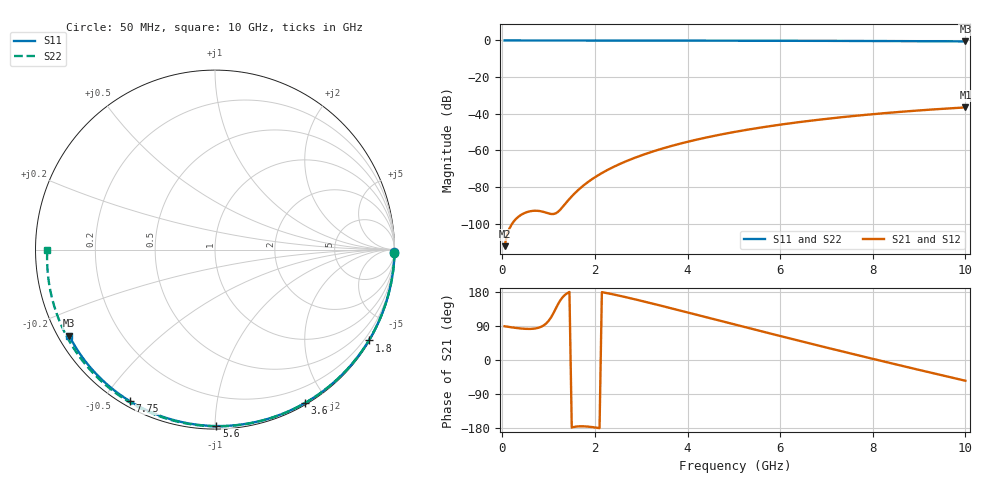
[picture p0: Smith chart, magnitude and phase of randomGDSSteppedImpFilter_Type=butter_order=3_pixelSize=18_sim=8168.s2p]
! freq	dB(S11)	phase(S11)	dB(S12)	phase(S12)
!  dB(S21)	phase(S21)	dB(S22)	phase(S22)
!S-par simulation data
#  GHz  S  DB  R 50
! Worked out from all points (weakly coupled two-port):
!   200 points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, 50 MHz to 10 GHz, reference 50 ohm
!   highest |S21| = -36.54 dB at 10 GHz (marker M1); lowest = -112.2 dB at 50 MHz (marker M2)
!   lowest |S11| = -0.5 dB at 10 GHz (marker M3), VSWR 34.50, Z = 1.56 - j13.6 ohm
!   |S11| at or under -10 dB: nowhere
!   |S22| runs from -0.6 to 0.0 dB; largest |S21 - S12| = 0
!   S11 on the Smith chart (normalised r, x): 50 MHz: open; 1.8 GHz: 0.03, -3.66; 3.6 GHz: 0.02, -1.75; 5.6 GHz: 0.02, -1.01; 7.75 GHz: 0.02, -0.59; 10 GHz: 0.03, -0.27
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0.05  -0.00 -0.9  -112.25 89.0  -112.25 89.0  -0.00 -1.0
0.45  -0.01 -7.8  -94.53 82.6  -94.53 82.6  -0.01 -9.2
0.85  -0.02 -14.6  -93.28 88.3  -93.28 88.3  -0.02 -17.3
1.25  -0.03 -21.4  -92.38 156.9  -92.38 156.9  -0.03 -25.3
1.7  -0.04 -28.9  -80.24 -174.9  -80.24 -174.9  -0.04 -34.2
1.75  -0.04 -29.7  -79.20 -175.0  -79.20 -175.0  -0.04 -35.2
1.8  -0.04 -30.6  -78.20 -175.3  -78.20 -175.3  -0.05 -36.1
2.1  -0.05 -35.5  -73.10 -179.9  -73.10 -179.9  -0.05 -42.0
2.3  -0.05 -38.8  -70.29 175.6  -70.29 175.6  -0.06 -45.9
2.5  -0.05 -42.1  -67.83 170.4  -67.83 170.4  -0.06 -49.7
2.9  -0.06 -48.5  -63.65 159.1  -63.65 159.1  -0.07 -57.3
3.4  -0.08 -56.5  -59.41 144.1  -59.41 144.1  -0.09 -66.6
3.6  -0.08 -59.6  -57.94 137.9  -57.94 137.9  -0.09 -70.2
4.3  -0.10 -70.4  -53.53 116.1  -53.53 116.1  -0.12 -82.8
5.05  -0.13 -81.5  -49.76 92.7  -49.76 92.7  -0.15 -95.9
5.6  -0.15 -89.5  -47.45 75.6  -47.45 75.6  -0.17 -105.3
6.15  -0.17 -97.3  -45.43 58.7  -45.43 58.7  -0.21 -114.5
6.7  -0.20 -105.0  -43.66 41.9  -43.66 41.9  -0.24 -123.6
7.75  -0.28 -119.3  -40.82 10.4  -40.82 10.4  -0.33 -141.0
8.35  -0.33 -127.3  -39.46 -7.2  -39.46 -7.2  -0.39 -151.0
9.2  -0.41 -138.7  -37.82 -31.9  -37.82 -31.9  -0.48 -165.6
10  -0.50 -149.5  -36.54 -54.7  -36.54 -54.7  -0.59 180.0
